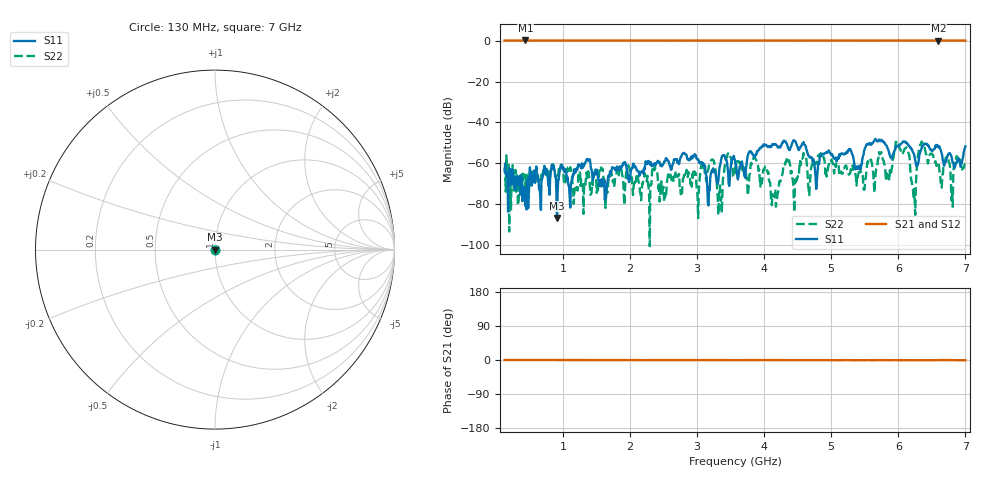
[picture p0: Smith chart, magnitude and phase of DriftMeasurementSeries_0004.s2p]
# Hz S RI R 50.000000
! Metas.Vna.Tools, 2.8.8664.20301
! Metas.Vna.Data, 2.8.8664.20285
! Created: UTC 2024.02.11 10:08:08
! FREQ  re:S1,1  im:S1,1  re:S2,1  im:S2,1  re:S1,2  im:S1,2  re:S2,2  im:S2,2
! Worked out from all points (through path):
!   801 points, 130 MHz to 7 GHz, reference 50 ohm
!   highest |S21| = 0.06 dB at 439.1 MHz (marker M1); lowest = -0.1 dB at 6.596 GHz (marker M2)
!   lowest |S11| = -86.7 dB at 911.5 MHz (marker M3), VSWR 1.00, Z = 50 - j0.00277 ohm
!   |S11| at or under -10 dB: start of sweep to end of sweep
!   |S22| runs from -100.4 to -49.3 dB; largest |S21 - S12| = 0.0082
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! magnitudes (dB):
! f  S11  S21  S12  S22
! 130 MHz  -64.0  0.0  0.0  -63.2
! 439.1 MHz  -80.8  0.1  0.0  -73.0
! 911.5 MHz  -86.7  0.0  0.0  -67.9
! 1.281 GHz  -60.0  0.0  0.0  -68.0
! 1.633 GHz  -75.6  0.0  0.0  -81.8
! 2.423 GHz  -59.4  0.0  0.0  -72.6
! 3.221 GHz  -63.4  0.0  0.0  -58.2
! 3.342 GHz  -61.2  0.0  0.0  -70.7
! 3.453 GHz  -61.9  0.0  0.0  -55.7
! 3.565 GHz  -58.4  0.0  0.0  -63.3
! 3.857 GHz  -56.6  0.0  0.0  -56.7
! 4.14 GHz  -50.6  0.0  0.0  -75.9
! 4.321 GHz  -49.3  0.0  0.0  -59.1
! 4.458 GHz  -49.0  0.0  0.0  -70.2
! 4.716 GHz  -57.5  0.0  0.0  -60.4
! 5.858 GHz  -54.1  0.0  0.0  -66.3
! 5.987 GHz  -51.6  0.0  0.0  -49.6
! 6.133 GHz  -50.2  0.0  0.0  -52.8
! 6.227 GHz  -55.0  0.0  0.0  -76.8
! 6.347 GHz  -52.4  0.0  0.0  -49.3
! 6.596 GHz  -52.2  -0.1  0.0  -59.3
! 7 GHz  -51.7  0.0  0.0  -60.3
